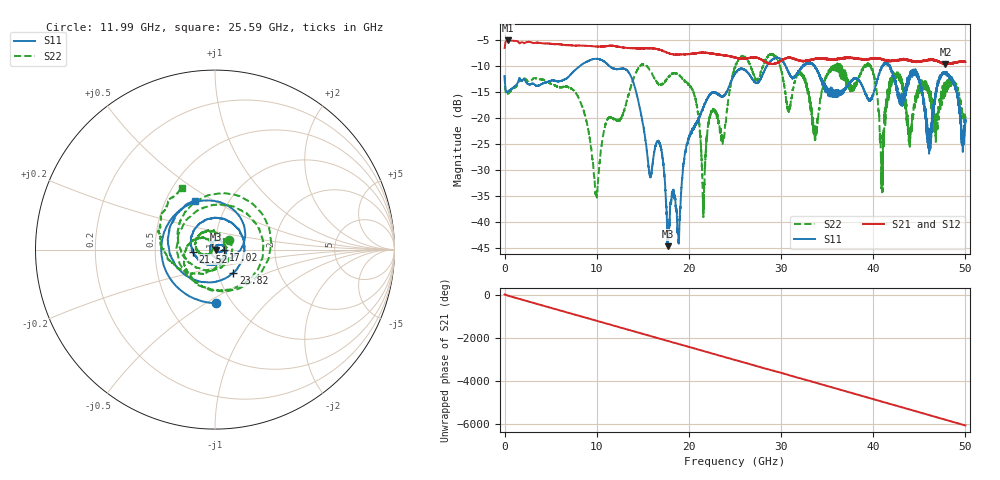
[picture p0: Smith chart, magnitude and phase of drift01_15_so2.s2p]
!Created with skrf (http://scikit-rf.org).
# Hz S RI R 50.0
!freq ReS11 ImS11 ReS21 ImS21 ReS12 ImS12 ReS22 ImS22
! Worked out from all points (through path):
!   10001 points, 300 kHz to 50 GHz, reference 50 ohm
!   highest |S21| = -5.05 dB at 345.3 MHz (marker M1); lowest = -9.7 dB at 47.84 GHz (marker M2)
!   group delay of S21, straight-line fit = 336 ps
!   lowest |S11| = -44.7 dB at 17.69 GHz (marker M3), VSWR 1.01, Z = 50.6 - j0.12 ohm
!   |S11| at or under -10 dB: start of sweep to 8.151 GHz; 11.39 GHz to 28.44 GHz (17.05 GHz wide, 85.6 % of centre); 41.8 GHz to end of sweep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
!   |S22| runs from -39.1 to -7.6 dB; largest |S21 - S12| = 0.012
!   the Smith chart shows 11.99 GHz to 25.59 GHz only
!   S11 on the Smith chart (normalised r, x): 11.99 GHz: 0.84, -0.55; 17.02 GHz: 1.10, -0.00; 21.52 GHz: 0.78, -0.02; 23.82 GHz: 1.18, -0.31; 25.59 GHz: 0.69, +0.42
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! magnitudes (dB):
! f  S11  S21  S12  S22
! 300 kHz  -11.9  -6.5  -6.5  -11.8
! 345.3 MHz  -14.9  -5.0  -5.1  -15.3
! 8.335 GHz  -9.7  -6.0  -6.0  -17.4
! 9.935 GHz  -8.6  -6.2  -6.2  -34.4
! 11.99 GHz  -10.5  -6.2  -6.2  -20.4
! 15.77 GHz  -31.1  -6.6  -6.6  -10.8
! 16.67 GHz  -24.4  -6.8  -6.8  -13.4
! 17.02 GHz  -26.2  -6.9  -6.9  -13.6
! 17.69 GHz  -44.7  -7.4  -7.4  -12.3
! 20.5 GHz  -22.1  -7.6  -7.6  -15.0
! 21.52 GHz  -18.1  -7.4  -7.4  -36.6
! 22.43 GHz  -15.2  -7.5  -7.6  -18.7
! 23.82 GHz  -15.7  -7.9  -7.9  -23.8
! 25 GHz  -11.4  -8.4  -8.4  -10.2
! 25.59 GHz  -10.6  -8.6  -8.6  -8.2
! 33.34 GHz  -9.5  -8.7  -8.7  -19.6
! 39.49 GHz  -16.4  -8.6  -8.6  -10.0
! 40.95 GHz  -10.1  -8.7  -8.6  -28.6
! 41.67 GHz  -9.7  -8.9  -9.0  -15.0
! 46.1 GHz  -25.3  -8.8  -8.8  -15.1
! 47.84 GHz  -11.3  -9.7  -9.7  -14.6
! 50 GHz  -20.8  -9.2  -9.1  -20.4
